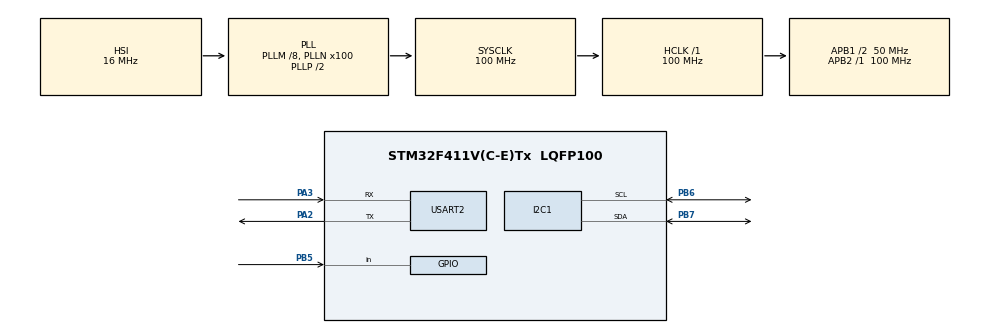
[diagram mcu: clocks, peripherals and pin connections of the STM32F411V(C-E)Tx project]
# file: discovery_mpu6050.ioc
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I2C1.I2C_Mode=I2C_Fast
Mcu.Family=STM32F4
Mcu.Name=STM32F411V(C-E)Tx
Mcu.Package=LQFP100
NVIC.PriorityGroup=NVIC_PRIORITYGROUP_4
NVIC.USART2_IRQn=true\:0\:0\:false\:false\:true\:true\:true
PA13.Mode=Serial_Wire
PA13.Signal=SYS_JTMS-SWDIO
PA14.Mode=Serial_Wire
PA14.Signal=SYS_JTCK-SWCLK
PA2.Mode=Asynchronous
PA2.Signal=USART2_TX
PA3.Mode=Asynchronous
PA3.Signal=USART2_RX
PB5.Signal=GPIO_Input
PB6.Mode=I2C
PB6.Signal=I2C1_SCL
PB7.Mode=I2C
PB7.Signal=I2C1_SDA
PH0\ -\ OSC_IN.Mode=HSE-External-Oscillator
PH0\ -\ OSC_IN.Signal=RCC_OSC_IN
PH1\ -\ OSC_OUT.Mode=HSE-External-Oscillator
PH1\ -\ OSC_OUT.Signal=RCC_OSC_OUT
ProjectManager.HeapSize=0x200
ProjectManager.StackSize=0x400
ProjectManager.TargetToolchain=STM32CubeIDE
RCC.48MHZClocksFreq_Value=50000000
RCC.AHBFreq_Value=100000000
RCC.APB1CLKDivider=RCC_HCLK_DIV2
RCC.APB1Freq_Value=50000000
RCC.APB1TimFreq_Value=100000000
RCC.APB2Freq_Value=100000000
RCC.APB2TimFreq_Value=100000000
RCC.CortexFreq_Value=100000000
RCC.HCLKFreq_Value=100000000
RCC.HSE_VALUE=8000000
RCC.HSI_VALUE=16000000
RCC.LSE_VALUE=32768
RCC.PLLM=8
RCC.PLLN=100
RCC.SYSCLKFreq_VALUE=100000000
RCC.SYSCLKSource=RCC_SYSCLKSOURCE_PLLCLK
RCC.VCOOutputFreq_Value=200000000
USART2.VirtualMode=VM_ASYNC
board=custom

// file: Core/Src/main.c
/* USER CODE BEGIN Header */
/**
 ******************************************************************************
 * @file           : main.c
 * @brief          : Main program body
 ******************************************************************************
 * @attention
 *
 * Copyright (c) 2023 STMicroelectronics.
 * All rights reserved.
 *
 * This software is licensed under terms that can be found in the LICENSE file
 * in the root directory of this software component.
 * If no LICENSE file comes with this software, it is provided AS-IS.
 *
 ******************************************************************************
 */
/* USER CODE END Header */
#include "main.h"
#include "i2c.h"
#include "usart.h"
#include "gpio.h"

/* USER CODE BEGIN Includes */
#include "MPU6050.h"
/* USER CODE END Includes */

/* USER CODE BEGIN PTD */
int _write(int file, uint8_t* p, int len)
{
	if(HAL_UART_Transmit(&huart2, p, len, len) == HAL_OK )
	{
		return len;
	}
	return 0;
}

/* USER CODE END PTD */

/* USER CODE BEGIN PV */
uint8_t uart2_rx_data = 0;
uint8_t uart2_rx_flag = 0;
/* USER CODE END PV */

void SystemClock_Config(void);

int main(void)
{

  /* MCU Configuration--------------------------------------------------------*/

  /* Reset of all peripherals, Initializes the Flash interface and the Systick. */
  HAL_Init();

  /* Configure the system clock */
  SystemClock_Config();

  /* Initialize all configured peripherals */
  MX_GPIO_Init();
  MX_USART2_UART_Init();
  MX_I2C1_Init();
  /* USER CODE BEGIN 2 */

	MPU6050_Initialization();

  /* USER CODE END 2 */

  /* Infinite loop */
	while (1)
	{

    /* USER CODE BEGIN 3 */

		if(MPU6050_DataReady() == 1)
		{
			MPU6050_ProcessData(&MPU6050);
			//printf("%f, %f, %f\n", MPU6050.acc_x, MPU6050.acc_y, MPU6050.acc_z);
			//printf("%f, %f, %f\n", MPU6050.gyro_x, MPU6050.gyro_y, MPU6050.gyro_z);
			printf("%d, %d, %d\n", MPU6050.acc_x_raw, MPU6050.acc_y_raw, MPU6050.acc_z_raw);
		}

	}
  /* USER CODE END 3 */
}

void SystemClock_Config(void)
{
  RCC_OscInitTypeDef RCC_OscInitStruct = {0};
  RCC_ClkInitTypeDef RCC_ClkInitStruct = {0};

  /** Configure the main internal regulator output voltage
  */
  __HAL_RCC_PWR_CLK_ENABLE();
  __HAL_PWR_VOLTAGESCALING_CONFIG(PWR_REGULATOR_VOLTAGE_SCALE1);
  /** Initializes the RCC Oscillators according to the specified parameters
  * in the RCC_OscInitTypeDef structure.
  */
  RCC_OscInitStruct.OscillatorType = RCC_OSCILLATORTYPE_HSI;
  RCC_OscInitStruct.HSIState = RCC_HSI_ON;
  RCC_OscInitStruct.HSICalibrationValue = RCC_HSICALIBRATION_DEFAULT;
  RCC_OscInitStruct.PLL.PLLState = RCC_PLL_ON;
  RCC_OscInitStruct.PLL.PLLSource = RCC_PLLSOURCE_HSI;
  RCC_OscInitStruct.PLL.PLLM = 8;
  RCC_OscInitStruct.PLL.PLLN = 100;
  RCC_OscInitStruct.PLL.PLLP = RCC_PLLP_DIV2;
  RCC_OscInitStruct.PLL.PLLQ = 4;
  if (HAL_RCC_OscConfig(&RCC_OscInitStruct) != HAL_OK)
  {
    Error_Handler();
  }
  /** Initializes the CPU, AHB and APB buses clocks
  */
  RCC_ClkInitStruct.ClockType = RCC_CLOCKTYPE_HCLK|RCC_CLOCKTYPE_SYSCLK
                              |RCC_CLOCKTYPE_PCLK1|RCC_CLOCKTYPE_PCLK2;
  RCC_ClkInitStruct.SYSCLKSource = RCC_SYSCLKSOURCE_PLLCLK;
  RCC_ClkInitStruct.AHBCLKDivider = RCC_SYSCLK_DIV1;
  RCC_ClkInitStruct.APB1CLKDivider = RCC_HCLK_DIV2;
  RCC_ClkInitStruct.APB2CLKDivider = RCC_HCLK_DIV1;

  if (HAL_RCC_ClockConfig(&RCC_ClkInitStruct, FLASH_LATENCY_3) != HAL_OK)
  {
    Error_Handler();
  }
}

/* USER CODE BEGIN 4 */
void HAL_UART_RxCpltCallback(UART_HandleTypeDef *huart)
{
	if (huart->Instance == USART2)
	{
		HAL_UART_Receive_IT(&huart2, &uart2_rx_data, 1);
		uart2_rx_flag = 1;
	}
}
/* USER CODE END 4 */

void Error_Handler(void)
{
	__disable_irq();
	while (1)
	{
	}
}
